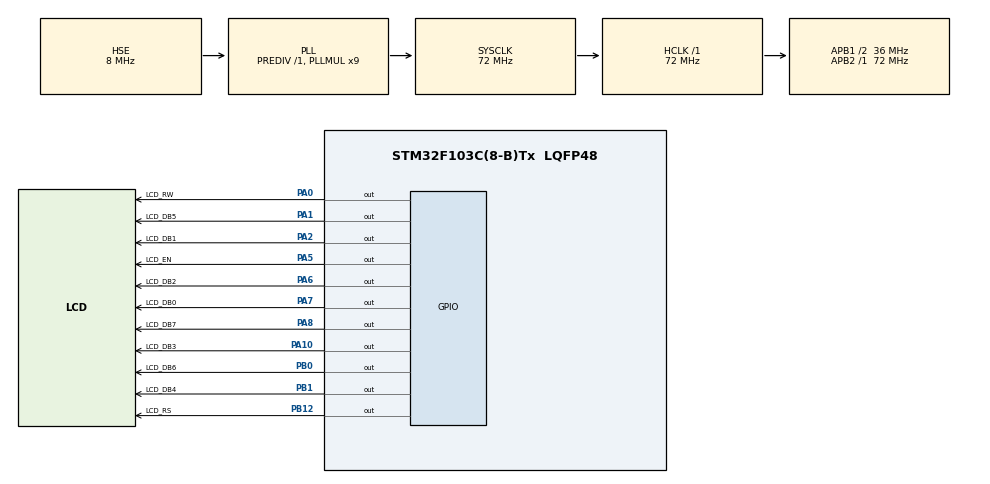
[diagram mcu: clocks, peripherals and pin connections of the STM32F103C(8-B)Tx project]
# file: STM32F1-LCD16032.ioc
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Mcu.Family=STM32F1
Mcu.Name=STM32F103C(8-B)Tx
Mcu.Package=LQFP48
NVIC.PriorityGroup=NVIC_PRIORITYGROUP_4
PA0-WKUP.GPIO_Label=LCD_RW
PA0-WKUP.GPIO_Speed=GPIO_SPEED_FREQ_HIGH
PA0-WKUP.Signal=GPIO_Output
PA1.GPIO_Label=LCD_DB5
PA1.GPIO_ModeDefaultOutputPP=GPIO_MODE_OUTPUT_PP
PA1.GPIO_PuPd=GPIO_NOPULL
PA1.GPIO_Speed=GPIO_SPEED_FREQ_HIGH
PA1.PinState=GPIO_PIN_RESET
PA1.Signal=GPIO_Output
PA10.GPIO_Label=LCD_DB3
PA10.GPIO_Speed=GPIO_SPEED_FREQ_HIGH
PA10.PinState=GPIO_PIN_RESET
PA10.Signal=GPIO_Output
PA13.Mode=Serial_Wire
PA13.Signal=SYS_JTMS-SWDIO
PA14.Mode=Serial_Wire
PA14.Signal=SYS_JTCK-SWCLK
PA2.GPIO_Label=LCD_DB1
PA2.GPIO_ModeDefaultOutputPP=GPIO_MODE_OUTPUT_PP
PA2.GPIO_Speed=GPIO_SPEED_FREQ_HIGH
PA2.Signal=GPIO_Output
PA5.GPIO_Label=LCD_EN
PA5.GPIO_Speed=GPIO_SPEED_FREQ_HIGH
PA5.Signal=GPIO_Output
PA6.GPIO_Label=LCD_DB2
PA6.GPIO_Speed=GPIO_SPEED_FREQ_HIGH
PA6.Signal=GPIO_Output
PA7.GPIO_Label=LCD_DB0
PA7.GPIO_Speed=GPIO_SPEED_FREQ_HIGH
PA7.Signal=GPIO_Output
PA8.GPIO_Label=LCD_DB7
PA8.GPIO_Speed=GPIO_SPEED_FREQ_HIGH
PA8.PinState=GPIO_PIN_RESET
PA8.Signal=GPIO_Output
PB0.GPIO_Label=LCD_DB6
PB0.GPIO_ModeDefaultOutputPP=GPIO_MODE_OUTPUT_PP
PB0.GPIO_PuPd=GPIO_NOPULL
PB0.GPIO_Speed=GPIO_SPEED_FREQ_HIGH
PB0.PinState=GPIO_PIN_RESET
PB0.Signal=GPIO_Output
PB1.GPIO_Label=LCD_DB4
PB1.GPIO_ModeDefaultOutputPP=GPIO_MODE_OUTPUT_PP
PB1.GPIO_PuPd=GPIO_NOPULL
PB1.GPIO_Speed=GPIO_SPEED_FREQ_HIGH
PB1.PinState=GPIO_PIN_RESET
PB1.Signal=GPIO_Output
PB12.GPIO_Label=LCD_RS
PB12.GPIO_Speed=GPIO_SPEED_FREQ_HIGH
PB12.Signal=GPIO_Output
PD0-OSC_IN.Mode=HSE-External-Oscillator
PD0-OSC_IN.Signal=RCC_OSC_IN
PD1-OSC_OUT.Mode=HSE-External-Oscillator
PD1-OSC_OUT.Signal=RCC_OSC_OUT
ProjectManager.HeapSize=0x200
ProjectManager.StackSize=0x400
ProjectManager.TargetToolchain=STM32CubeIDE
RCC.AHBFreq_Value=72000000
RCC.APB1CLKDivider=RCC_HCLK_DIV2
RCC.APB1Freq_Value=36000000
RCC.APB1TimFreq_Value=72000000
RCC.APB2Freq_Value=72000000
RCC.APB2TimFreq_Value=72000000
RCC.HCLKFreq_Value=72000000
RCC.PLLMUL=RCC_PLL_MUL9
RCC.PLLSourceVirtual=RCC_PLLSOURCE_HSE
RCC.SYSCLKFreq_VALUE=72000000
RCC.SYSCLKSource=RCC_SYSCLKSOURCE_PLLCLK
RCC.USBFreq_Value=48000000
RCC.USBPrescaler=RCC_USBCLKSOURCE_PLL_DIV1_5
TIM1.Period=65535
TIM1.Prescaler=71
VP_TIM1_VS_ClockSourceINT.Mode=Internal
board=custom

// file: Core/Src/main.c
/* USER CODE BEGIN Header */
/**
  ******************************************************************************
  * @file           : main.c
  * @brief          : Main program body
  ******************************************************************************
  * @attention
  *
  * <h2><center>&copy; Copyright (c) 2021 STMicroelectronics.
  * All rights reserved.</center></h2>
  *
  * This software component is licensed by ST under BSD 3-Clause license,
  * the "License"; You may not use this file except in compliance with the
  * License. You may obtain a copy of the License at:
  *                        opensource.org/licenses/BSD-3-Clause
  *
  ******************************************************************************
  */
/* USER CODE END Header */
#include "main.h"

/* USER CODE BEGIN Includes */
#include "delay.h"
#include "ST7920.h"
/* USER CODE END Includes */

/* USER CODE BEGIN PD */
#define U8G2	0
/* USER CODE END PD */

TIM_HandleTypeDef htim1;

/* USER CODE BEGIN PV */
#if U8G2
static u8g2_t u8g2;
#endif
/* USER CODE END PV */

void SystemClock_Config(void);
static void MX_GPIO_Init(void);
static void MX_TIM1_Init(void);

int main(void)
{

  /* MCU Configuration--------------------------------------------------------*/

  /* Reset of all peripherals, Initializes the Flash interface and the Systick. */
  HAL_Init();

  /* Configure the system clock */
  SystemClock_Config();

  /* Initialize all configured peripherals */
  MX_GPIO_Init();
  MX_TIM1_Init();
  /* USER CODE BEGIN 2 */

#if U8G2
    /* u8glib2 will use frame buffer */
    u8g2_Setup_st7920_p_192x32_f(&u8g2, U8G2_R0, u8x8_byte_8bit_6800mode, u8g2_gpio_and_delay_stm32);
    u8g2_InitDisplay(&u8g2);
    u8g2_SetPowerSave(&u8g2, 0); /* wake up display */

    u8g2_ClearBuffer(&u8g2);
	u8g2_SetFontMode(&u8g2, 1);
	u8g2_SetFontDirection(&u8g2, 0);
	u8g2_SetFont(&u8g2, u8g2_font_6x12_te);

	u8g2_DrawLine(&u8g2, 0, 0, 160, 0);
	u8g2_DrawUTF8(&u8g2, 0, 9, "012345678901234567890123456789");
	u8g2_DrawLine(&u8g2, 0, 10, 160, 10);
	u8g2_DrawUTF8(&u8g2, 0, 20, "ABCDEFGH - ěščřžýáíé");
	u8g2_DrawLine(&u8g2, 0, 21, 160, 21);
	u8g2_DrawUTF8(&u8g2, 0, 30, "012345678901234567890123456789");
	u8g2_DrawLine(&u8g2, 0, 31, 160, 31);

	u8g2_SendBuffer(&u8g2);
#else
	//build-in fonts
	LCD_Init();
	LCD_PutStr(0, 0, (const uint8_t*)"01234567890123456789");

	uint8_t text[] = {'A', 'B', 'C', ' ', '-', ' ', 0, 0};
	uint8_t *ch = &text[6];

	LCD_PutStr(0, 1, text);

#endif

  /* USER CODE END 2 */

  /* Infinite loop */
  while (1)
  {
#if U8G2

#else
	  *ch += 1;
	  LCD_PutStr(0, 1, text);
#endif
	  HAL_Delay_ms(200);
  }
}

void SystemClock_Config(void)
{
  RCC_OscInitTypeDef RCC_OscInitStruct = {0};
  RCC_ClkInitTypeDef RCC_ClkInitStruct = {0};

  /** Initializes the RCC Oscillators according to the specified parameters
  * in the RCC_OscInitTypeDef structure.
  */
  RCC_OscInitStruct.OscillatorType = RCC_OSCILLATORTYPE_HSE;
  RCC_OscInitStruct.HSEState = RCC_HSE_ON;
  RCC_OscInitStruct.HSEPredivValue = RCC_HSE_PREDIV_DIV1;
  RCC_OscInitStruct.HSIState = RCC_HSI_ON;
  RCC_OscInitStruct.PLL.PLLState = RCC_PLL_ON;
  RCC_OscInitStruct.PLL.PLLSource = RCC_PLLSOURCE_HSE;
  RCC_OscInitStruct.PLL.PLLMUL = RCC_PLL_MUL9;
  if (HAL_RCC_OscConfig(&RCC_OscInitStruct) != HAL_OK)
  {
    Error_Handler();
  }
  /** Initializes the CPU, AHB and APB buses clocks
  */
  RCC_ClkInitStruct.ClockType = RCC_CLOCKTYPE_HCLK|RCC_CLOCKTYPE_SYSCLK
                              |RCC_CLOCKTYPE_PCLK1|RCC_CLOCKTYPE_PCLK2;
  RCC_ClkInitStruct.SYSCLKSource = RCC_SYSCLKSOURCE_PLLCLK;
  RCC_ClkInitStruct.AHBCLKDivider = RCC_SYSCLK_DIV1;
  RCC_ClkInitStruct.APB1CLKDivider = RCC_HCLK_DIV2;
  RCC_ClkInitStruct.APB2CLKDivider = RCC_HCLK_DIV1;

  if (HAL_RCC_ClockConfig(&RCC_ClkInitStruct, FLASH_LATENCY_2) != HAL_OK)
  {
    Error_Handler();
  }
}

static void MX_TIM1_Init(void)
{

  TIM_ClockConfigTypeDef sClockSourceConfig = {0};
  TIM_MasterConfigTypeDef sMasterConfig = {0};

  htim1.Instance = TIM1;
  htim1.Init.Prescaler = 71;
  htim1.Init.CounterMode = TIM_COUNTERMODE_UP;
  htim1.Init.Period = 65535;
  htim1.Init.ClockDivision = TIM_CLOCKDIVISION_DIV1;
  htim1.Init.RepetitionCounter = 0;
  htim1.Init.AutoReloadPreload = TIM_AUTORELOAD_PRELOAD_DISABLE;
  if (HAL_TIM_Base_Init(&htim1) != HAL_OK)
  {
    Error_Handler();
  }
  sClockSourceConfig.ClockSource = TIM_CLOCKSOURCE_INTERNAL;
  if (HAL_TIM_ConfigClockSource(&htim1, &sClockSourceConfig) != HAL_OK)
  {
    Error_Handler();
  }
  sMasterConfig.MasterOutputTrigger = TIM_TRGO_RESET;
  sMasterConfig.MasterSlaveMode = TIM_MASTERSLAVEMODE_DISABLE;
  if (HAL_TIMEx_MasterConfigSynchronization(&htim1, &sMasterConfig) != HAL_OK)
  {
    Error_Handler();
  }
  /* USER CODE BEGIN TIM1_Init 2 */
  HAL_TIM_Base_Start(&htim1);
  /* USER CODE END TIM1_Init 2 */

}

static void MX_GPIO_Init(void)
{
  GPIO_InitTypeDef GPIO_InitStruct = {0};

  /* GPIO Ports Clock Enable */
  __HAL_RCC_GPIOD_CLK_ENABLE();
  __HAL_RCC_GPIOA_CLK_ENABLE();
  __HAL_RCC_GPIOB_CLK_ENABLE();

  /*Configure GPIO pin Output Level */
  HAL_GPIO_WritePin(GPIOA, LCD_RW_Pin|LCD_DB5_Pin|LCD_DB1_Pin|LCD_EN_Pin
                          |LCD_DB2_Pin|LCD_DB0_Pin|LCD_DB7_Pin|LCD_DB3_Pin, GPIO_PIN_RESET);

  /*Configure GPIO pin Output Level */
  HAL_GPIO_WritePin(GPIOB, LCD_DB6_Pin|LCD_DB4_Pin|LCD_RS_Pin, GPIO_PIN_RESET);

  /*Configure GPIO pins : LCD_RW_Pin LCD_DB5_Pin LCD_DB1_Pin LCD_EN_Pin
                           LCD_DB2_Pin LCD_DB0_Pin LCD_DB7_Pin LCD_DB3_Pin */
  GPIO_InitStruct.Pin = LCD_RW_Pin|LCD_DB5_Pin|LCD_DB1_Pin|LCD_EN_Pin
                          |LCD_DB2_Pin|LCD_DB0_Pin|LCD_DB7_Pin|LCD_DB3_Pin;
  GPIO_InitStruct.Mode = GPIO_MODE_OUTPUT_PP;
  GPIO_InitStruct.Pull = GPIO_NOPULL;
  GPIO_InitStruct.Speed = GPIO_SPEED_FREQ_HIGH;
  HAL_GPIO_Init(GPIOA, &GPIO_InitStruct);

  /*Configure GPIO pins : LCD_DB6_Pin LCD_DB4_Pin LCD_RS_Pin */
  GPIO_InitStruct.Pin = LCD_DB6_Pin|LCD_DB4_Pin|LCD_RS_Pin;
  GPIO_InitStruct.Mode = GPIO_MODE_OUTPUT_PP;
  GPIO_InitStruct.Pull = GPIO_NOPULL;
  GPIO_InitStruct.Speed = GPIO_SPEED_FREQ_HIGH;
  HAL_GPIO_Init(GPIOB, &GPIO_InitStruct);

}

void Error_Handler(void)
{
  __disable_irq();
  while (1)
  {
  }
}

/************************ (C) COPYRIGHT STMicroelectronics *****END OF FILE****/
